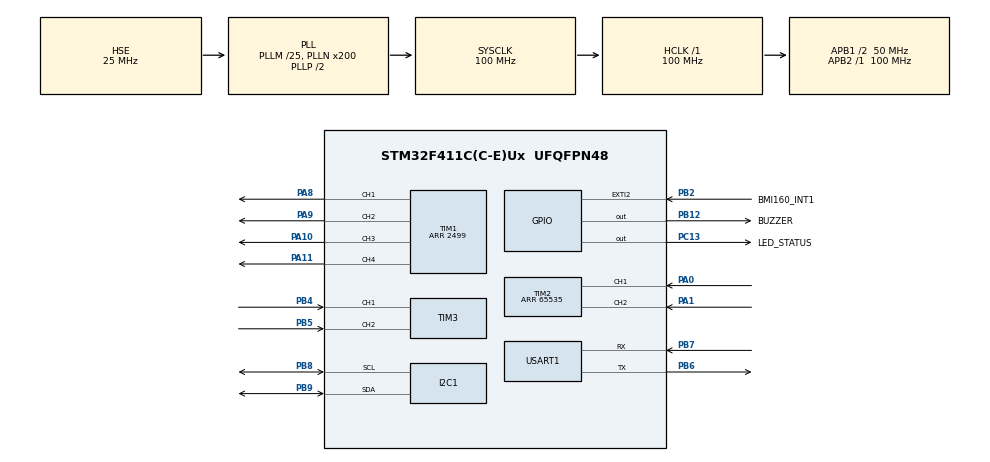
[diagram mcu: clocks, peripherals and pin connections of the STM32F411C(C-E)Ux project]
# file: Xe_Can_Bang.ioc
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Dma.I2C1_RX.2.Direction=DMA_PERIPH_TO_MEMORY
Dma.I2C1_RX.2.FIFOMode=DMA_FIFOMODE_DISABLE
Dma.I2C1_RX.2.Instance=DMA1_Stream0
Dma.I2C1_RX.2.MemDataAlignment=DMA_MDATAALIGN_BYTE
Dma.I2C1_RX.2.MemInc=DMA_MINC_ENABLE
Dma.I2C1_RX.2.Mode=DMA_NORMAL
Dma.I2C1_RX.2.PeriphDataAlignment=DMA_PDATAALIGN_BYTE
Dma.I2C1_RX.2.PeriphInc=DMA_PINC_DISABLE
Dma.I2C1_RX.2.Priority=DMA_PRIORITY_LOW
Dma.Request0=USART1_RX
Dma.Request1=USART1_TX
Dma.Request2=I2C1_RX
Dma.USART1_RX.0.Direction=DMA_PERIPH_TO_MEMORY
Dma.USART1_RX.0.FIFOMode=DMA_FIFOMODE_DISABLE
Dma.USART1_RX.0.Instance=DMA2_Stream2
Dma.USART1_RX.0.MemDataAlignment=DMA_MDATAALIGN_BYTE
Dma.USART1_RX.0.MemInc=DMA_MINC_ENABLE
Dma.USART1_RX.0.Mode=DMA_CIRCULAR
Dma.USART1_RX.0.PeriphDataAlignment=DMA_PDATAALIGN_BYTE
Dma.USART1_RX.0.PeriphInc=DMA_PINC_DISABLE
Dma.USART1_RX.0.Priority=DMA_PRIORITY_LOW
Dma.USART1_TX.1.Direction=DMA_MEMORY_TO_PERIPH
Dma.USART1_TX.1.FIFOMode=DMA_FIFOMODE_DISABLE
Dma.USART1_TX.1.Instance=DMA2_Stream7
Dma.USART1_TX.1.MemDataAlignment=DMA_MDATAALIGN_BYTE
Dma.USART1_TX.1.MemInc=DMA_MINC_ENABLE
Dma.USART1_TX.1.Mode=DMA_NORMAL
Dma.USART1_TX.1.PeriphDataAlignment=DMA_PDATAALIGN_BYTE
Dma.USART1_TX.1.PeriphInc=DMA_PINC_DISABLE
Dma.USART1_TX.1.Priority=DMA_PRIORITY_LOW
I2C1.I2C_Mode=I2C_Fast
Mcu.Family=STM32F4
Mcu.Name=STM32F411C(C-E)Ux
Mcu.Package=UFQFPN48
NVIC.DMA1_Stream0_IRQn=true\:1\:0\:true\:false\:true\:false\:true\:true
NVIC.DMA2_Stream2_IRQn=true\:2\:0\:true\:false\:true\:false\:true\:true
NVIC.DMA2_Stream7_IRQn=true\:2\:0\:true\:false\:true\:false\:true\:true
NVIC.EXTI2_IRQn=true\:1\:0\:true\:false\:true\:true\:true\:true
NVIC.I2C1_ER_IRQn=true\:1\:0\:true\:false\:true\:true\:true\:true
NVIC.I2C1_EV_IRQn=true\:1\:0\:true\:false\:true\:true\:true\:true
NVIC.PriorityGroup=NVIC_PRIORITYGROUP_4
NVIC.TIM4_IRQn=true\:0\:0\:true\:false\:true\:true\:true\:true
NVIC.USART1_IRQn=true\:2\:0\:true\:false\:true\:false\:true\:true
PA0-WKUP.Signal=S_TIM2_CH1_ETR
PA1.Signal=S_TIM2_CH2
PA10.Signal=S_TIM1_CH3
PA11.Signal=S_TIM1_CH4
PA13.Mode=Serial_Wire
PA13.Signal=SYS_JTMS-SWDIO
PA14.Mode=Serial_Wire
PA14.Signal=SYS_JTCK-SWCLK
PA8.Signal=S_TIM1_CH1
PA9.Signal=S_TIM1_CH2
PB12.GPIO_Label=BUZZER
PB12.Signal=GPIO_Output
PB2.GPIO_Label=BMI160_INT1
PB2.Signal=GPXTI2
PB4.Signal=S_TIM3_CH1
PB5.Signal=S_TIM3_CH2
PB6.Mode=Asynchronous
PB6.Signal=USART1_TX
PB7.Mode=Asynchronous
PB7.Signal=USART1_RX
PB8.Mode=I2C
PB8.Signal=I2C1_SCL
PB9.Mode=I2C
PB9.Signal=I2C1_SDA
PC13-ANTI_TAMP.GPIO_Label=LED_STATUS
PC13-ANTI_TAMP.PinState=GPIO_PIN_SET
PC13-ANTI_TAMP.Signal=GPIO_Output
PH0\ -\ OSC_IN.Mode=HSE-External-Oscillator
PH0\ -\ OSC_IN.Signal=RCC_OSC_IN
PH1\ -\ OSC_OUT.Mode=HSE-External-Oscillator
PH1\ -\ OSC_OUT.Signal=RCC_OSC_OUT
ProjectManager.HeapSize=0x200
ProjectManager.StackSize=0x400
ProjectManager.TargetToolchain=STM32CubeIDE
RCC.48MHZClocksFreq_Value=50000000
RCC.AHBFreq_Value=100000000
RCC.APB1CLKDivider=RCC_HCLK_DIV2
RCC.APB1Freq_Value=50000000
RCC.APB1TimFreq_Value=100000000
RCC.APB2Freq_Value=100000000
RCC.APB2TimFreq_Value=100000000
RCC.CortexFreq_Value=100000000
RCC.HCLKFreq_Value=100000000
RCC.HSE_VALUE=25000000
RCC.HSI_VALUE=16000000
RCC.LSE_VALUE=32768
RCC.PLLM=25
RCC.PLLN=200
RCC.PLLSourceVirtual=RCC_PLLSOURCE_HSE
RCC.SYSCLKFreq_VALUE=100000000
RCC.SYSCLKSource=RCC_SYSCLKSOURCE_PLLCLK
RCC.VCOOutputFreq_Value=200000000
SH.S_TIM1_CH1.0=TIM1_CH1,PWM Generation1 CH1
SH.S_TIM1_CH2.0=TIM1_CH2,PWM Generation2 CH2
SH.S_TIM1_CH3.0=TIM1_CH3,PWM Generation3 CH3
SH.S_TIM1_CH4.0=TIM1_CH4,PWM Generation4 CH4
SH.S_TIM2_CH1_ETR.0=TIM2_CH1,Encoder_Interface
SH.S_TIM2_CH2.0=TIM2_CH2,Encoder_Interface
SH.S_TIM3_CH1.0=TIM3_CH1,Encoder_Interface
SH.S_TIM3_CH2.0=TIM3_CH2,Encoder_Interface
TIM1.AutoReloadPreload=TIM_AUTORELOAD_PRELOAD_ENABLE
TIM1.Channel-PWM\ Generation1\ CH1=TIM_CHANNEL_1
TIM1.Channel-PWM\ Generation2\ CH2=TIM_CHANNEL_2
TIM1.Channel-PWM\ Generation3\ CH3=TIM_CHANNEL_3
TIM1.Channel-PWM\ Generation4\ CH4=TIM_CHANNEL_4
TIM1.CounterMode=TIM_COUNTERMODE_CENTERALIGNED1
TIM1.Period=2499
TIM2.EncoderMode=TIM_ENCODERMODE_TI12
TIM2.IC1Filter=6
TIM2.IC2Filter=6
TIM2.Period=65535
TIM3.EncoderMode=TIM_ENCODERMODE_TI12
TIM3.IC1Filter=6
TIM3.IC2Filter=6
TIM4.AutoReloadPreload=TIM_AUTORELOAD_PRELOAD_ENABLE
TIM4.Period=4999
TIM4.Prescaler=99
USART1.VirtualMode=VM_ASYNC
VP_TIM1_VS_ClockSourceINT.Mode=Internal
VP_TIM4_VS_ClockSourceINT.Mode=Internal
board=custom

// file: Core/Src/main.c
/* USER CODE BEGIN Header */
/**
  ******************************************************************************
  * @file           : main.c
  * @brief          : Main program body
  ******************************************************************************
  * @attention
  *
  * Copyright (c) 2026 STMicroelectronics.
  * All rights reserved.
  *
  * This software is licensed under terms that can be found in the LICENSE file
  * in the root directory of this software component.
  * If no LICENSE file comes with this software, it is provided AS-IS.
  *
  ******************************************************************************
  */
/* USER CODE END Header */
#include "main.h"
#include "dma.h"
#include "i2c.h"
#include "tim.h"
#include "usart.h"
#include "gpio.h"

/* USER CODE BEGIN Includes */
#include "robot_fsm.h"
#include "buzzer_led.h"
#include "esp32_comm.h"
#include "bmi160.h"
#include "motor.h"
#include "hardware_test.h"
#include <stdio.h>
/* USER CODE END Includes */

void SystemClock_Config(void);

int main(void)
{

  /* MCU Configuration--------------------------------------------------------*/

  /* Reset of all peripherals, Initializes the Flash interface and the Systick. */
  HAL_Init();

  /* Configure the system clock */
  SystemClock_Config();

  /* Initialize all configured peripherals */
  MX_GPIO_Init();
  MX_DMA_Init();
  MX_I2C1_Init();
  MX_TIM1_Init();
  MX_TIM2_Init();
  MX_TIM3_Init();
  MX_TIM4_Init();
  MX_USART1_UART_Init();
  /* USER CODE BEGIN 2 */
  /* [TEST RIÊNG CẢM BIẾN BMI160 — chạy độc lập, KHÔNG vào vòng lặp cân bằng]
   * Bỏ dấu comment dòng dưới để quét I2C, đọc CHIP_ID và in dữ liệu IMU ra USART1 (PB6 TX, 115200).
   * LƯU Ý: hàm này lặp vô hạn (blocking) — dùng khi test cảm biến riêng, không cần động cơ/web. */
  // BMI160_Test_Run();

  /* [CHẾ ĐỘ TEST ĐỘNG CƠ LIÊN TỤC & ĐO ÁP VOM]
   * Bỏ dấu comment dòng dưới nếu muốn xe chạy lặp vô hạn (Trái 2s -> Phải 2s -> Cả 2 2s)
   * để quan sát động cơ quay hoặc dùng đồng hồ VOM đo điện áp kích tại PA8..PA11: */
  // Motor_Test_Run();

  /* Khởi tạo toàn bộ driver linh kiện và thuật toán */
  Robot_Init();

  /* Bắt đầu ngắt định thời nhịp tim 200Hz (5ms) trên Timer 4 */
  HAL_TIM_Base_Start_IT(&htim4);
  /* USER CODE END 2 */

  /* Infinite loop */
  /* USER CODE BEGIN WHILE */

  while (1)
  {
    /* 1. Xử lý giải mã lệnh UART từ ESP32-S3 qua DMA buffer
     * The parser masks only TIM4 around complete command publication.
     * UART DMA recovery and byte scanning run with interrupts enabled. */
    ESP32_Comm_Process();
    HardwareTest_Service();

    /* 2. Xử lý yêu cầu hiệu chuẩn lại IMU từ web ($CALIB) — chạy NGOÀI ngắt 200Hz */
    if (ESP32_Comm_GetCommand()->trigger_calib) {
        ESP32_Comm_GetCommand()->trigger_calib = 0;
        Robot_RecalibrateIMU();
        ESP32_Comm_FlushRx();   /* Xóa byte tồn đọng trong lúc hiệu chuẩn */
    }

    /* 3. Cập nhật hiệu ứng Còi và LED trạng thái (phi phong bế) */
    BuzzerLED_Update(HAL_GetTick());

    Robot_BalanceService();
    /* USER CODE END WHILE */

  }
}

void SystemClock_Config(void)
{
  RCC_OscInitTypeDef RCC_OscInitStruct = {0};
  RCC_ClkInitTypeDef RCC_ClkInitStruct = {0};

  /** Configure the main internal regulator output voltage
  */
  __HAL_RCC_PWR_CLK_ENABLE();
  __HAL_PWR_VOLTAGESCALING_CONFIG(PWR_REGULATOR_VOLTAGE_SCALE1);

  /** Initializes the RCC Oscillators according to the specified parameters
  * in the RCC_OscInitTypeDef structure.
  */
  RCC_OscInitStruct.OscillatorType = RCC_OSCILLATORTYPE_HSE;
  RCC_OscInitStruct.HSEState = RCC_HSE_ON;
  RCC_OscInitStruct.PLL.PLLState = RCC_PLL_ON;
  RCC_OscInitStruct.PLL.PLLSource = RCC_PLLSOURCE_HSE;
  RCC_OscInitStruct.PLL.PLLM = 25;
  RCC_OscInitStruct.PLL.PLLN = 200;
  RCC_OscInitStruct.PLL.PLLP = RCC_PLLP_DIV2;
  RCC_OscInitStruct.PLL.PLLQ = 4;
  if (HAL_RCC_OscConfig(&RCC_OscInitStruct) != HAL_OK)
  {
    Error_Handler();
  }

  /** Initializes the CPU, AHB and APB buses clocks
  */
  RCC_ClkInitStruct.ClockType = RCC_CLOCKTYPE_HCLK|RCC_CLOCKTYPE_SYSCLK
                              |RCC_CLOCKTYPE_PCLK1|RCC_CLOCKTYPE_PCLK2;
  RCC_ClkInitStruct.SYSCLKSource = RCC_SYSCLKSOURCE_PLLCLK;
  RCC_ClkInitStruct.AHBCLKDivider = RCC_SYSCLK_DIV1;
  RCC_ClkInitStruct.APB1CLKDivider = RCC_HCLK_DIV2;
  RCC_ClkInitStruct.APB2CLKDivider = RCC_HCLK_DIV1;

  if (HAL_RCC_ClockConfig(&RCC_ClkInitStruct, FLASH_LATENCY_3) != HAL_OK)
  {
    Error_Handler();
  }
}

/* USER CODE BEGIN 4 */
/**
  * @brief  printf redirect qua USART1 — GHI TRỰC TIẾP THANH GHI, KHÔNG DÙNG HAL.
  * LÝ DO: USART1 dùng chung cho DMA Telemetry ($TEL) và DMA RX lệnh ($CMD).
  *        Nếu dùng HAL_UART_Transmit() sẽ xung đột trạng thái gState với DMA.
  *        Ghi thẳng USART1->DR chỉ an toàn cho các hàm test blocking
  *        (BMI160_Test_Run) chạy TRƯỚC vòng lặp chính, khi telemetry chưa hoạt động.
  */
int __io_putchar(int ch)
{
  while ((USART1->SR & USART_SR_TXE) == 0U) { }
  USART1->DR = (uint8_t)(ch & 0xFFU);
  return ch;
}

/**
  * @brief  Ngắt tràn Timer định thời (Callback từ HAL_TIM_IRQHandler)
  * @param  htim: Con trỏ Timer gây ngắt
  */
void HAL_TIM_PeriodElapsedCallback(TIM_HandleTypeDef *htim)
{
  if (htim->Instance == TIM4) {
    /* Thực thi vòng lặp điều khiển phản hồi Cascade PID 200Hz */
    Robot_ControlLoop_200Hz();
  }
}
/* USER CODE END 4 */

void Error_Handler(void)
{
  __disable_irq();
  while (1)
  {
  }
}
